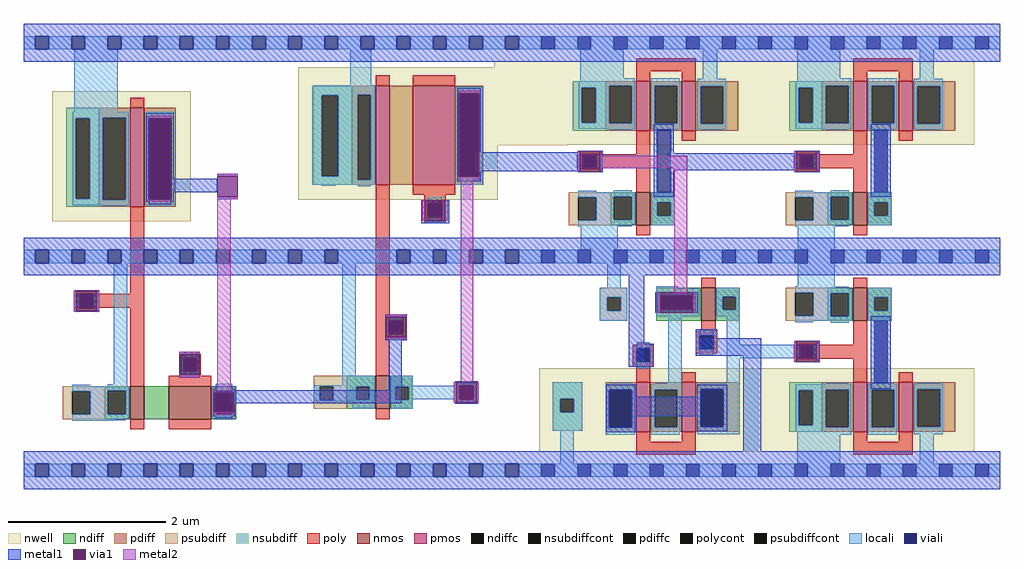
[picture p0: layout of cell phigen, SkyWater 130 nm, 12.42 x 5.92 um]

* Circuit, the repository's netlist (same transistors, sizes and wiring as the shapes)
* SPICE3 file created from phigen.ext - technology: sky130A

X0 inv_weak_pullup_corrected_0/inp inv_weak_pulldown_corrected_0/in VDDA VDDA sky130_fd_pr__pfet_01v8 ad=0p pd=0u as=0p ps=0u w=1.26e+06u l=180000u
X1 inv_weak_pulldown_corrected_0/a_30_50# inv_weak_pulldown_corrected_0/in VSUBS VSUBS sky130_fd_pr__nfet_01v8 ad=0p pd=0u as=0p ps=0u w=420000u l=180000u
X2 inv_weak_pullup_corrected_0/inp inv_weak_pulldown_corrected_0/vnb inv_weak_pulldown_corrected_0/a_30_50# VSUBS sky130_fd_pr__nfet_01v8 ad=0p pd=0u as=0p ps=0u w=420000u l=540000u
X3 inv_weak_pullup_corrected_0/out inv_weak_pullup_corrected_0/vpb inv_weak_pullup_corrected_0/a_234_496# VDDA sky130_fd_pr__pfet_01v8 ad=0p pd=0u as=0p ps=0u w=1.26e+06u l=540000u
X4 inv_weak_pullup_corrected_0/a_234_496# inv_weak_pullup_corrected_0/inp VDDA VDDA sky130_fd_pr__pfet_01v8 ad=0p pd=0u as=0p ps=0u w=1.26e+06u l=180000u
X5 inv_weak_pullup_corrected_0/out inv_weak_pullup_corrected_0/inp VSUBS VSUBS sky130_fd_pr__nfet_01v8 ad=0p pd=0u as=0p ps=0u w=420000u l=180000u
X6 comp_clks_0/tg_0/out VSUBS inv_weak_pullup_corrected_0/out VDDA sky130_fd_pr__pfet_01v8 ad=0p pd=0u as=0p ps=0u w=630000u l=180000u
X7 inv_weak_pullup_corrected_0/out VSUBS comp_clks_0/tg_0/out VDDA sky130_fd_pr__pfet_01v8 ad=0p pd=0u as=0p ps=0u w=630000u l=180000u
X8 comp_clks_0/tg_0/out VDDA inv_weak_pullup_corrected_0/out VSUBS sky130_fd_pr__nfet_01v8 ad=0p pd=0u as=0p ps=0u w=420000u l=180000u
X9 comp_clks_0/inverter_1/in inv_weak_pullup_corrected_0/out VSUBS VSUBS sky130_fd_pr__nfet_01v8 ad=0p pd=0u as=0p ps=0u w=420000u l=180000u
X10 VDDA inv_weak_pullup_corrected_0/out comp_clks_0/inverter_1/in VDDA sky130_fd_pr__pfet_01v8 ad=0p pd=0u as=0p ps=0u w=630000u l=180000u
X11 comp_clks_0/inverter_1/in inv_weak_pullup_corrected_0/out VDDA VDDA sky130_fd_pr__pfet_01v8 ad=0p pd=0u as=0p ps=0u w=630000u l=180000u
X12 comp_clks_0/inverter_1/out comp_clks_0/inverter_1/in VSUBS VSUBS sky130_fd_pr__nfet_01v8 ad=0p pd=0u as=0p ps=0u w=420000u l=180000u
X13 VDDA comp_clks_0/inverter_1/in comp_clks_0/inverter_1/out VDDA sky130_fd_pr__pfet_01v8 ad=0p pd=0u as=0p ps=0u w=630000u l=180000u
X14 comp_clks_0/inverter_1/out comp_clks_0/inverter_1/in VDDA VDDA sky130_fd_pr__pfet_01v8 ad=0p pd=0u as=0p ps=0u w=630000u l=180000u
X15 comp_clks_0/inverter_2/out comp_clks_0/tg_0/out VSUBS VSUBS sky130_fd_pr__nfet_01v8 ad=0p pd=0u as=0p ps=0u w=420000u l=180000u
X16 VDDA comp_clks_0/tg_0/out comp_clks_0/inverter_2/out VDDA sky130_fd_pr__pfet_01v8 ad=0p pd=0u as=0p ps=0u w=630000u l=180000u
X17 comp_clks_0/inverter_2/out comp_clks_0/tg_0/out VDDA VDDA sky130_fd_pr__pfet_01v8 ad=0p pd=0u as=0p ps=0u w=630000u l=180000u

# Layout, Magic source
magic
tech sky130B
magscale 1 2
<< nwell >>
rect 1197 875 1382 1089
<< metal1 >>
rect 1149 809 1415 857
rect 928 252 962 387
rect 524 218 962 252
use comp_clks  comp_clks_0
transform 1 0 1288 0 1 544
box 0 -544 1196 640
use inv_weak_pulldown_corrected  inv_weak_pulldown_corrected_0
transform 1 0 276 0 1 128
box -276 -128 368 1056
use inv_weak_pullup_corrected  inv_weak_pullup_corrected_0
transform 1 0 697 0 1 279
box -53 -279 591 905
<< end >>

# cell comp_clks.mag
magic
tech sky130B
magscale 1 2
<< nwell >>
rect 577 332 627 545
rect 576 -449 630 -236
<< locali >>
rect 530 -211 674 -177
<< metal1 >>
rect 0 544 1196 640
rect 351 268 677 311
rect 867 200 918 384
rect 0 0 1196 96
rect 251 -232 290 0
rect 422 -205 588 -160
rect 543 -448 588 -205
rect 867 -288 918 -104
rect 0 -544 1196 -448
<< metal2 >>
rect 182 273 400 305
rect 367 -47 400 273
use inverter  inverter_0
transform 1 0 276 0 1 128
box -276 -128 368 512
use inverter  inverter_1
transform 1 0 828 0 1 128
box -276 -128 368 512
use inverter  inverter_2
transform 1 0 828 0 -1 -32
box -276 -128 368 512
use tg  tg_0
transform 1 0 276 0 -1 -32
box -276 -128 368 512
<< labels >>
flabel metal1 0 544 1196 640 1 FreeSans 320 0 0 0 vdd
port 1 n default bidirectional
flabel metal1 0 -544 1196 -448 1 FreeSans 320 0 0 0 vdd
flabel metal1 0 0 1196 96 1 FreeSans 320 0 0 0 vss
port 2 n default bidirectional
flabel metal2 182 273 400 305 1 FreeSans 320 0 0 0 clk
port 3 n default input
flabel metal1 867 200 918 384 1 FreeSans 320 0 0 0 clka
port 4 n default output
flabel metal1 867 -288 918 -104 1 FreeSans 320 0 0 0 clkb
port 5 n default output
<< end >>

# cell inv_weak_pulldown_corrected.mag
magic
tech sky130B
magscale 1 2
<< nwell >>
rect -204 554 148 884
<< nmos >>
rect -6 50 30 134
rect 93 50 201 134
<< pmos >>
rect -6 590 30 842
<< ndiff >>
rect -71 122 -6 134
rect -71 63 -63 122
rect -17 63 -6 122
rect -71 50 -6 63
rect 30 50 93 134
rect 201 122 264 134
rect 201 64 212 122
rect 254 64 264 122
rect 201 50 264 64
<< pdiff >>
rect -84 817 -6 842
rect -84 609 -75 817
rect -17 609 -6 817
rect -84 590 -6 609
rect 30 816 110 842
rect 30 609 41 816
rect 99 609 110 816
rect 30 590 110 609
<< ndiffc >>
rect -63 63 -17 122
rect 212 64 254 122
<< pdiffc >>
rect -75 609 -17 817
rect 41 609 99 816
<< psubdiff >>
rect -177 121 -71 134
rect -177 62 -153 121
rect -107 62 -71 121
rect -177 50 -71 62
<< nsubdiff >>
rect -168 816 -84 842
rect -168 611 -144 816
rect -109 611 -84 816
rect -168 590 -84 611
<< psubdiffcont >>
rect -153 62 -107 121
<< nsubdiffcont >>
rect -144 611 -109 816
<< poly >>
rect -6 842 30 868
rect -144 369 -88 378
rect -6 369 30 590
rect -144 368 30 369
rect -150 334 -134 368
rect -100 334 30 368
rect -144 333 30 334
rect -144 324 -88 333
rect -6 134 30 333
rect 130 216 164 222
rect 120 206 174 216
rect 120 172 130 206
rect 164 172 174 206
rect 120 160 174 172
rect 93 134 201 160
rect -6 24 30 50
rect 93 24 201 50
<< polycont >>
rect -134 334 -100 368
rect 130 172 164 206
<< locali >>
rect -276 991 -247 1025
rect -213 991 -155 1025
rect -121 991 -63 1025
rect -29 991 29 1025
rect 63 991 121 1025
rect 155 991 213 1025
rect 247 991 305 1025
rect 339 991 368 1025
rect -148 833 -38 991
rect -152 817 -10 833
rect -152 816 -75 817
rect -152 611 -144 816
rect -109 611 -75 816
rect -152 609 -75 611
rect -17 609 -10 817
rect -152 595 -10 609
rect 32 816 106 833
rect 32 609 41 816
rect 99 609 106 816
rect 32 595 106 609
rect -75 593 -17 595
rect 41 593 99 595
rect -276 447 -247 481
rect -213 447 -155 481
rect -121 447 -63 481
rect -29 447 29 481
rect 63 447 121 481
rect 155 447 213 481
rect 247 447 305 481
rect 339 447 368 481
rect -150 334 -134 368
rect -100 334 -84 368
rect -48 139 -13 447
rect 130 212 164 222
rect 124 206 170 212
rect 124 172 130 206
rect 164 172 170 206
rect 124 166 170 172
rect 130 156 164 166
rect -153 134 -107 137
rect -63 134 -13 139
rect -153 133 -13 134
rect 212 133 254 140
rect -153 122 -8 133
rect -153 121 -63 122
rect -107 63 -63 121
rect -17 63 -8 122
rect -107 62 -8 63
rect -153 51 -8 62
rect 202 122 263 133
rect 202 64 212 122
rect 254 64 263 122
rect 202 51 263 64
rect -153 47 -17 51
rect 212 48 254 51
rect -153 46 -47 47
rect -276 -97 -247 -63
rect -213 -97 -155 -63
rect -121 -97 -63 -63
rect -29 -97 29 -63
rect 63 -97 121 -63
rect 155 -97 213 -63
rect 247 -97 305 -63
rect 339 -97 368 -63
<< viali >>
rect -247 991 -213 1025
rect -155 991 -121 1025
rect -63 991 -29 1025
rect 29 991 63 1025
rect 121 991 155 1025
rect 213 991 247 1025
rect 305 991 339 1025
rect 41 609 99 816
rect -247 447 -213 481
rect -155 447 -121 481
rect -63 447 -29 481
rect 29 447 63 481
rect 121 447 155 481
rect 213 447 247 481
rect 305 447 339 481
rect -134 334 -100 368
rect 130 172 164 206
rect 212 64 254 122
rect -247 -97 -213 -63
rect -155 -97 -121 -63
rect -63 -97 -29 -63
rect 29 -97 63 -63
rect 121 -97 155 -63
rect 213 -97 247 -63
rect 305 -97 339 -63
<< metal1 >>
rect -276 1025 368 1056
rect -276 991 -247 1025
rect -213 991 -155 1025
rect -121 991 -63 1025
rect -29 991 29 1025
rect 63 991 121 1025
rect 155 991 213 1025
rect 247 991 305 1025
rect 339 991 368 1025
rect -276 960 368 991
rect 35 816 105 828
rect 35 609 41 816
rect 99 662 105 816
rect 216 668 268 674
rect 99 628 216 662
rect 99 609 105 628
rect 216 610 268 616
rect 35 603 105 609
rect 41 597 99 603
rect -276 481 368 512
rect -276 447 -247 481
rect -213 447 -155 481
rect -121 447 -63 481
rect -29 447 29 481
rect 63 447 121 481
rect 155 447 213 481
rect 247 447 305 481
rect 339 447 368 481
rect -276 416 368 447
rect -147 377 -84 378
rect -149 325 -143 377
rect -91 325 -84 377
rect -147 324 -84 325
rect 119 215 171 222
rect 119 156 171 163
rect 212 128 254 134
rect 206 122 260 128
rect 206 119 212 122
rect 254 119 260 122
rect 206 67 207 119
rect 259 67 260 119
rect 206 64 212 67
rect 254 64 260 67
rect 206 58 260 64
rect 212 52 254 58
rect -276 -63 368 -32
rect -276 -97 -247 -63
rect -213 -97 -155 -63
rect -121 -97 -63 -63
rect -29 -97 29 -63
rect 63 -97 121 -63
rect 155 -97 213 -63
rect 247 -97 305 -63
rect 339 -97 368 -63
rect -276 -128 368 -97
<< via1 >>
rect 41 609 99 816
rect 216 616 268 668
rect -143 368 -91 377
rect -143 334 -134 368
rect -134 334 -100 368
rect -100 334 -91 368
rect -143 325 -91 334
rect 119 206 171 215
rect 119 172 130 206
rect 130 172 164 206
rect 164 172 171 206
rect 119 163 171 172
rect 207 67 212 119
rect 212 67 254 119
rect 254 67 259 119
<< metal2 >>
rect 41 816 99 822
rect 41 603 99 609
rect 216 668 268 674
rect 216 610 268 616
rect -149 325 -143 377
rect -91 325 -85 377
rect 119 215 171 222
rect 119 156 171 163
rect 216 125 250 610
rect 207 119 259 125
rect 207 61 259 67
<< labels >>
flabel metal2 -134 334 -100 368 0 FreeSans 160 0 0 0 in
flabel metal2 130 172 164 206 0 FreeSans 160 0 0 0 vnb
<< end >>

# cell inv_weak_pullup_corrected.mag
magic
tech sky130B
magscale 1 2
<< nwell >>
rect 1 458 509 795
<< nmos >>
rect 198 -75 234 9
<< pmos >>
rect 198 496 234 748
rect 292 496 400 748
<< ndiff >>
rect 124 -18 198 9
rect 124 -52 148 -18
rect 182 -52 198 -18
rect 124 -75 198 -52
rect 234 -18 292 9
rect 234 -52 248 -18
rect 282 -52 292 -18
rect 234 -75 292 -52
<< pdiff >>
rect 138 725 198 748
rect 138 508 152 725
rect 186 508 198 725
rect 138 496 198 508
rect 234 496 292 748
rect 400 729 472 748
rect 400 516 412 729
rect 460 516 472 729
rect 400 496 472 516
<< ndiffc >>
rect 148 -52 182 -18
rect 248 -52 282 -18
<< pdiffc >>
rect 152 508 186 725
rect 412 516 460 729
<< psubdiff >>
rect 40 -17 124 9
rect 40 -51 56 -17
rect 90 -51 124 -17
rect 40 -75 124 -51
<< nsubdiff >>
rect 37 724 138 748
rect 37 517 61 724
rect 103 517 138 724
rect 37 496 138 517
<< psubdiffcont >>
rect 56 -51 90 -17
<< nsubdiffcont >>
rect 61 517 103 724
<< poly >>
rect 198 748 234 774
rect 292 748 400 774
rect 198 166 234 496
rect 292 470 400 496
rect 322 448 376 470
rect 322 414 332 448
rect 366 414 376 448
rect 322 398 376 414
rect 198 150 277 166
rect 198 116 233 150
rect 267 116 277 150
rect 198 100 277 116
rect 198 9 234 100
rect 198 -101 234 -75
<< polycont >>
rect 332 414 366 448
rect 233 116 267 150
<< locali >>
rect -53 840 -24 874
rect 10 840 68 874
rect 102 840 160 874
rect 194 840 252 874
rect 286 840 344 874
rect 378 840 436 874
rect 470 840 528 874
rect 562 840 591 874
rect 133 749 187 840
rect 39 725 197 749
rect 39 724 152 725
rect 39 517 61 724
rect 103 517 152 724
rect 39 508 152 517
rect 186 508 197 725
rect 39 496 197 508
rect 401 729 470 745
rect 401 516 412 729
rect 460 516 470 729
rect 401 496 470 516
rect 61 493 95 496
rect 152 492 186 496
rect 332 448 366 464
rect 332 398 366 414
rect -53 296 -24 330
rect 10 296 68 330
rect 102 296 252 330
rect 286 296 344 330
rect 378 296 436 330
rect 470 296 528 330
rect 562 296 591 330
rect 113 9 147 296
rect 233 150 267 166
rect 233 100 267 116
rect 113 -15 196 9
rect 40 -17 196 -15
rect 40 -51 56 -17
rect 90 -18 196 -17
rect 90 -51 148 -18
rect 40 -52 148 -51
rect 182 -52 196 -18
rect 40 -55 196 -52
rect 140 -75 196 -55
rect 236 -16 292 9
rect 397 -16 461 -7
rect 236 -18 412 -16
rect 236 -52 248 -18
rect 282 -50 412 -18
rect 446 -50 461 -16
rect 282 -52 292 -50
rect 236 -75 292 -52
rect 397 -59 461 -50
rect -53 -248 -24 -214
rect 10 -248 68 -214
rect 102 -248 160 -214
rect 194 -248 252 -214
rect 286 -248 344 -214
rect 378 -248 436 -214
rect 470 -248 528 -214
rect 562 -248 591 -214
<< viali >>
rect -24 840 10 874
rect 68 840 102 874
rect 160 840 194 874
rect 252 840 286 874
rect 344 840 378 874
rect 436 840 470 874
rect 528 840 562 874
rect 412 516 460 729
rect 332 414 366 448
rect -24 296 10 330
rect 68 296 102 330
rect 252 296 286 330
rect 344 296 378 330
rect 436 296 470 330
rect 528 296 562 330
rect 233 116 267 150
rect 412 -50 446 -16
rect -24 -248 10 -214
rect 68 -248 102 -214
rect 160 -248 194 -214
rect 252 -248 286 -214
rect 344 -248 378 -214
rect 436 -248 470 -214
rect 528 -248 562 -214
<< metal1 >>
rect -53 874 591 905
rect -53 840 -24 874
rect 10 840 68 874
rect 102 840 160 874
rect 194 840 252 874
rect 286 840 344 874
rect 378 840 436 874
rect 470 840 528 874
rect 562 840 591 874
rect -53 809 591 840
rect 406 729 466 741
rect 406 516 410 729
rect 462 516 466 729
rect 406 504 466 516
rect 314 404 323 456
rect 375 404 385 456
rect 314 398 385 404
rect -53 330 591 361
rect -53 296 -24 330
rect 10 296 68 330
rect 102 296 252 330
rect 286 296 344 330
rect 378 296 436 330
rect 470 296 528 330
rect 562 296 591 330
rect -53 265 591 296
rect 223 160 277 166
rect 223 108 224 160
rect 276 108 277 160
rect 223 100 277 108
rect 400 -7 458 -4
rect 397 -59 403 -7
rect 455 -59 461 -7
rect 400 -62 458 -59
rect -53 -214 591 -183
rect -53 -248 -24 -214
rect 10 -248 68 -214
rect 102 -248 160 -214
rect 194 -248 252 -214
rect 286 -248 344 -214
rect 378 -248 436 -214
rect 470 -248 528 -214
rect 562 -248 591 -214
rect -53 -279 591 -248
<< via1 >>
rect 410 516 412 729
rect 412 516 460 729
rect 460 516 462 729
rect 323 448 375 456
rect 323 414 332 448
rect 332 414 366 448
rect 366 414 375 448
rect 323 404 375 414
rect 224 150 276 160
rect 224 116 233 150
rect 233 116 267 150
rect 267 116 276 150
rect 224 108 276 116
rect 403 -16 455 -7
rect 403 -50 412 -16
rect 412 -50 446 -16
rect 446 -50 455 -16
rect 403 -59 455 -50
<< metal2 >>
rect 410 729 462 735
rect 410 510 462 516
rect 317 404 323 456
rect 375 404 381 456
rect 224 160 276 166
rect 224 102 276 108
rect 414 -7 446 510
rect 397 -59 403 -7
rect 455 -59 461 -7
<< labels >>
flabel metal2 317 404 381 456 0 FreeSans 160 0 0 0 vpb
flabel metal2 397 -59 461 -7 0 FreeSans 160 0 0 0 out
flabel poly 223 100 277 166 0 FreeSans 160 0 0 0 inp
<< end >>

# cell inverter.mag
magic
tech sky130B
magscale 1 2
<< nwell >>
rect -204 204 302 417
<< nmos >>
rect -6 0 30 84
<< pmos >>
rect -6 240 30 366
rect 110 240 146 366
<< ndiff >>
rect -71 72 -6 84
rect -71 13 -63 72
rect -17 13 -6 72
rect -71 0 -6 13
rect 30 58 92 84
rect 30 24 48 58
rect 82 24 92 58
rect 30 0 92 24
<< pdiff >>
rect -84 354 -6 366
rect -84 259 -75 354
rect -17 259 -6 354
rect -84 240 -6 259
rect 30 354 110 366
rect 30 259 41 354
rect 99 259 110 354
rect 30 240 110 259
rect 146 353 254 366
rect 146 258 158 353
rect 216 258 254 353
rect 146 240 254 258
<< ndiffc >>
rect -63 13 -17 72
rect 48 24 82 58
<< pdiffc >>
rect -75 259 -17 354
rect 41 259 99 354
rect 158 258 216 353
<< psubdiff >>
rect -177 71 -71 84
rect -177 12 -153 71
rect -107 12 -71 71
rect -177 0 -71 12
<< nsubdiff >>
rect -168 350 -84 366
rect -168 261 -144 350
rect -109 261 -84 350
rect -168 240 -84 261
<< psubdiffcont >>
rect -153 12 -107 71
<< nsubdiffcont >>
rect -144 261 -109 350
<< poly >>
rect -6 392 146 424
rect -6 366 30 392
rect 110 366 146 392
rect -151 180 -95 189
rect -6 180 30 240
rect 110 214 146 240
rect -151 179 30 180
rect -157 145 -141 179
rect -107 145 30 179
rect -151 144 30 145
rect -151 135 -95 144
rect -6 84 30 144
rect -6 -26 30 0
<< polycont >>
rect -141 145 -107 179
<< locali >>
rect -276 447 -247 481
rect -213 447 -155 481
rect -121 447 -63 481
rect -29 447 29 481
rect 63 447 121 481
rect 155 447 213 481
rect 247 447 305 481
rect 339 447 368 481
rect -148 374 -38 447
rect -148 366 -10 374
rect -152 354 -10 366
rect -152 350 -75 354
rect -152 261 -144 350
rect -109 261 -75 350
rect -152 259 -75 261
rect -17 259 -10 354
rect -152 245 -10 259
rect 32 366 105 374
rect 164 373 200 447
rect 32 354 106 366
rect 32 259 41 354
rect 99 259 106 354
rect 32 245 106 259
rect 149 365 222 373
rect 149 353 223 365
rect 149 258 158 353
rect 216 258 223 353
rect -75 243 -17 245
rect 41 243 99 245
rect 149 244 223 258
rect -157 145 -141 179
rect -107 145 -91 179
rect -153 84 -107 87
rect -63 84 -17 89
rect 158 242 216 244
rect -153 83 -17 84
rect -153 72 -8 83
rect -153 71 -63 72
rect -107 13 -63 71
rect -17 13 -8 72
rect -107 12 -8 13
rect -153 1 -8 12
rect 32 58 92 84
rect 32 24 48 58
rect 82 24 92 58
rect -153 -3 -17 1
rect 32 0 92 24
rect -153 -4 -53 -3
rect -147 -63 -53 -4
rect -276 -97 -247 -63
rect -213 -97 -155 -63
rect -121 -97 -63 -63
rect -29 -97 29 -63
rect 63 -97 121 -63
rect 155 -97 213 -63
rect 247 -97 305 -63
rect 339 -97 368 -63
<< viali >>
rect -247 447 -213 481
rect -155 447 -121 481
rect -63 447 -29 481
rect 29 447 63 481
rect 121 447 155 481
rect 213 447 247 481
rect 305 447 339 481
rect -141 145 -107 179
rect 48 84 82 243
rect -247 -97 -213 -63
rect -155 -97 -121 -63
rect -63 -97 -29 -63
rect 29 -97 63 -63
rect 121 -97 155 -63
rect 213 -97 247 -63
rect 305 -97 339 -63
<< metal1 >>
rect -276 481 368 512
rect -276 447 -247 481
rect -213 447 -155 481
rect -121 447 -63 481
rect -29 447 29 481
rect 63 447 121 481
rect 155 447 213 481
rect 247 447 305 481
rect 339 447 368 481
rect -276 416 368 447
rect 39 243 90 256
rect -154 188 -91 189
rect -156 136 -150 188
rect -98 136 -91 188
rect -154 135 -91 136
rect 39 84 48 243
rect 82 84 90 243
rect 39 72 90 84
rect -276 -63 368 -32
rect -276 -97 -247 -63
rect -213 -97 -155 -63
rect -121 -97 -63 -63
rect -29 -97 29 -63
rect 63 -97 121 -63
rect 155 -97 213 -63
rect 247 -97 305 -63
rect 339 -97 368 -63
rect -276 -128 368 -97
<< via1 >>
rect -150 179 -98 188
rect -150 145 -141 179
rect -141 145 -107 179
rect -107 145 -98 179
rect -150 136 -98 145
<< metal2 >>
rect -156 136 -150 188
rect -98 136 -92 188
<< labels >>
flabel metal2 -141 145 -107 179 0 FreeSans 160 0 0 0 in
port 2 nsew default input
flabel viali 48 84 82 243 0 FreeSans 160 0 0 0 out
port 3 nsew default output
flabel metal1 -29 -128 29 -32 1 FreeSans 320 0 0 0 vss
port 4 n default bidirectional
flabel metal1 -10 416 84 512 1 FreeSans 320 0 0 0 vdd
port 5 n default bidirectional
<< end >>

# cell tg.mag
magic
tech sky130B
magscale 1 2
<< nwell >>
rect -253 204 302 417
<< nmos >>
rect 160 0 196 84
<< pmos >>
rect -6 240 30 366
rect 110 240 146 366
<< ndiff >>
rect 45 54 160 84
rect 45 20 55 54
rect 139 20 160 54
rect 45 0 160 20
rect 196 56 258 84
rect 196 22 214 56
rect 248 22 258 56
rect 196 0 258 22
<< pdiff >>
rect -84 354 -6 366
rect -84 259 -75 354
rect -17 259 -6 354
rect -84 240 -6 259
rect 30 354 110 366
rect 30 259 41 354
rect 99 259 110 354
rect 30 240 110 259
rect 146 353 254 366
rect 146 258 158 353
rect 216 258 254 353
rect 146 240 254 258
<< ndiffc >>
rect 55 20 139 54
rect 214 22 248 56
<< pdiffc >>
rect -75 259 -17 354
rect 41 259 99 354
rect 158 258 216 353
<< psubdiff >>
rect -99 58 -29 83
rect -99 24 -79 58
rect -45 24 -29 58
rect -99 0 -29 24
<< nsubdiff >>
rect -217 316 -143 364
rect -217 282 -199 316
rect -165 282 -143 316
rect -217 240 -143 282
<< psubdiffcont >>
rect -79 24 -45 58
<< nsubdiffcont >>
rect -199 282 -165 316
<< poly >>
rect -6 392 146 424
rect -6 366 30 392
rect 110 366 146 392
rect -6 200 30 240
rect 110 214 146 240
rect -15 188 39 200
rect -15 154 -5 188
rect 29 154 39 188
rect 156 166 190 172
rect -15 144 39 154
rect 146 156 200 166
rect -5 138 29 144
rect 146 122 156 156
rect 190 122 200 156
rect 146 110 200 122
rect 155 106 196 110
rect 160 84 196 106
rect 160 -26 196 0
<< polycont >>
rect -5 154 29 188
rect 156 122 190 156
<< locali >>
rect -276 447 -247 481
rect -213 447 -155 481
rect -121 447 -63 481
rect -29 447 29 481
rect 63 447 121 481
rect 155 447 213 481
rect 247 447 305 481
rect 339 447 368 481
rect -199 364 -165 447
rect -218 316 -143 364
rect -218 282 -199 316
rect -165 282 -143 316
rect -218 240 -143 282
rect -84 354 -10 374
rect -84 259 -75 354
rect -17 259 -10 354
rect -84 245 -10 259
rect 32 366 105 374
rect 32 354 106 366
rect 32 259 41 354
rect 99 277 106 354
rect 149 353 258 373
rect 99 259 110 277
rect 32 245 110 259
rect -75 243 -17 245
rect 41 243 110 245
rect 149 258 158 353
rect 216 258 258 353
rect 149 244 258 258
rect -5 188 29 204
rect -5 138 29 154
rect -99 58 -29 83
rect 76 72 110 243
rect 158 242 258 244
rect 156 156 190 172
rect 156 106 190 122
rect 224 72 258 242
rect -99 24 -79 58
rect -45 24 -29 58
rect -99 0 -29 24
rect 45 54 155 72
rect 45 20 55 54
rect 139 20 155 54
rect 45 1 155 20
rect 198 56 258 72
rect 198 22 214 56
rect 248 22 258 56
rect -79 -63 -45 0
rect 45 -4 99 1
rect 198 0 258 22
rect -276 -97 -247 -63
rect -213 -97 -155 -63
rect -121 -97 -63 -63
rect -29 -97 29 -63
rect 63 -97 121 -63
rect 155 -97 213 -63
rect 247 -97 305 -63
rect 339 -97 368 -63
<< viali >>
rect -247 447 -213 481
rect -155 447 -121 481
rect -63 447 -29 481
rect 29 447 63 481
rect 121 447 155 481
rect 213 447 247 481
rect 305 447 339 481
rect -75 259 -17 354
rect 158 258 216 353
rect -5 154 29 188
rect 156 122 190 156
rect 55 20 139 54
rect -247 -97 -213 -63
rect -155 -97 -121 -63
rect -63 -97 -29 -63
rect 29 -97 63 -63
rect 121 -97 155 -63
rect 213 -97 247 -63
rect 305 -97 339 -63
<< metal1 >>
rect -276 481 368 512
rect -276 447 -247 481
rect -213 447 -155 481
rect -121 447 -63 481
rect -29 447 29 481
rect 63 447 121 481
rect 155 447 213 481
rect 247 447 305 481
rect 339 447 368 481
rect -276 417 368 447
rect -276 416 149 417
rect 204 416 368 417
rect -82 354 -6 367
rect -82 259 -75 354
rect -17 327 -6 354
rect 150 353 226 365
rect 150 327 158 353
rect -17 277 158 327
rect -17 259 -6 277
rect -82 247 -6 259
rect 150 258 158 277
rect 216 258 226 353
rect 150 246 226 258
rect -19 188 39 200
rect -19 154 -5 188
rect 29 154 39 188
rect -19 142 39 154
rect 146 156 200 173
rect 146 122 156 156
rect 190 122 200 156
rect 146 105 200 122
rect 43 11 55 63
rect 139 11 151 63
rect -276 -63 368 -32
rect -276 -97 -247 -63
rect -213 -97 -155 -63
rect -121 -97 -63 -63
rect -29 -97 29 -63
rect 63 -97 121 -63
rect 155 -97 213 -63
rect 247 -97 305 -63
rect 339 -97 368 -63
rect -276 -128 368 -97
<< via1 >>
rect 55 54 139 63
rect 55 20 139 54
rect 55 11 139 20
<< metal2 >>
rect 49 11 55 63
rect 139 11 145 63
<< labels >>
flabel metal1 -5 154 29 188 1 FreeSans 400 0 0 0 ctrl_
port 1 n default input
flabel metal1 156 122 190 156 1 FreeSans 400 0 0 0 ctrl
port 2 n default input
flabel metal2 55 20 139 54 1 FreeSans 400 0 0 0 in
port 5 n default input
flabel ndiffc 214 22 248 56 0 FreeSans 160 0 0 0 out
port 6 nsew default output
flabel metal1 -29 416 29 512 1 FreeSans 320 0 0 0 vdd
port 7 n default bidirectional
flabel metal1 -29 -128 29 -32 1 FreeSans 320 0 0 0 vss
port 8 n default bidirectional
<< end >>
